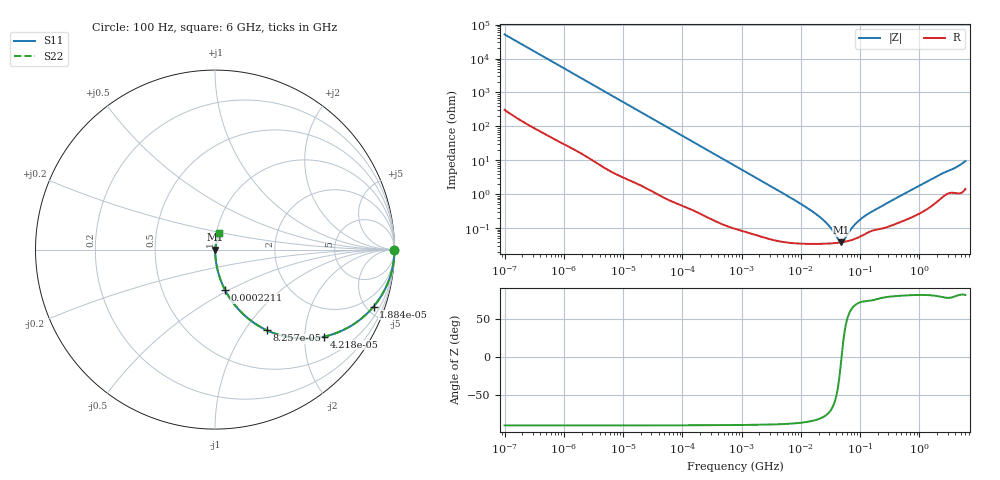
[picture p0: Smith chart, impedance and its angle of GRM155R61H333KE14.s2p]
!Murata Part Number: GRM155R61H333KE14
!These Parameters are Measured in Series Mode Connection
!Data Generated on Mar 30, 2021
!  o--ll--o
!Port1  Port2
!  o------o
!Operation Temp=25[degC], DC Bias Voltage=0[V]
!Freq. Start=100[Hz] Stop=6[GHz] 401[Steps]
# Hz S RI R 50
!Freq.(Hz) S11(Real) S11(Imag) S21(Real) S21(Imag) S12(Real) S12(Imag) S22(Real) S22(Imag)
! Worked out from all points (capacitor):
!   401 points, 100 Hz to 6 GHz, reference 50 ohm
!   read as one part in series: C = 30.9 nF near 109 Hz
!   lowest |Z| = 38.4 mohm at 47.65 MHz (marker M1)
!   series resonance near 48.73 MHz, so ESL is about 340 pH
!   S11 on the Smith chart (normalised r, x): 100 Hz: open; 18.84 kHz: 1.04, -5.55; 42.18 kHz: 1.02, -2.49; 82.57 kHz: 1.01, -1.27; 221.1 kHz: 1.00, -0.48; 6 GHz: 1.03, +0.19
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100  1 -0.00195  1.54e-05 0.00195  1.54e-05 0.00195  1 -0.00195
2008  0.9983 -0.0386  0.00173 0.0386  0.00173 0.0386  0.9983 -0.0386
6728  0.9829 -0.1268  0.0171 0.1268  0.0171 0.1268  0.9829 -0.1268
18841  0.8835 -0.3175  0.1165 0.3175  0.1165 0.3175  0.8835 -0.3175
26957  0.789 -0.4045  0.211 0.4045  0.211 0.4045  0.789 -0.4045
40335  0.6278 -0.4798  0.3722 0.4798  0.3722 0.4798  0.6278 -0.4798
42182  0.6069 -0.4848  0.3931 0.4848  0.3931 0.4848  0.6069 -0.4848
57709  0.4537 -0.4941  0.5463 0.4941  0.5463 0.4941  0.4537 -0.4941
82567  0.2905 -0.4499  0.7095 0.4499  0.7095 0.4499  0.2905 -0.4499
129199  0.1452 -0.3477  0.8548 0.3477  0.8548 0.3477  0.1452 -0.3477
221108  0.0563 -0.2254  0.9437 0.2254  0.9437 0.2254  0.0563 -0.2254
774597  0.00565 -0.0683  0.9943 0.0683  0.9943 0.0683  0.00565 -0.0683
6075234  0.00045 -0.00874  0.9996 0.00874  0.9996 0.00874  0.00045 -0.00874
1.555665e7  0.000352 -0.00312  0.9996 0.00312  0.9996 0.00312  0.000352 -0.00312
2.784235e7  0.000351 -0.00131  0.9996 0.00131  0.9996 0.00131  0.000351 -0.00131
4.35672e7  0.000372 -0.000248  0.9996 0.000248  0.9996 0.000248  0.000372 -0.000248
4.764863e7  0.00038 -4.91e-05  0.9996 4.91e-05  0.9996 4.91e-05  0.00038 -4.91e-05
5.211241e7  0.00039 0.000149  0.9996 -0.000149  0.9996 -0.000149  0.00039 0.000149
7.455971e7  0.000455 0.000961  0.9995 -0.000961  0.9995 -0.000961  0.000455 0.000961
1.020051e8  0.000573 0.00174  0.9994 -0.00174  0.9994 -0.00174  0.000573 0.00174
3.124326e8  0.00116 0.00585  0.9988 -0.00585  0.9988 -0.00585  0.00116 0.00585
6e9  0.0223 0.0901  0.9777 -0.0901  0.9777 -0.0901  0.0223 0.0901
